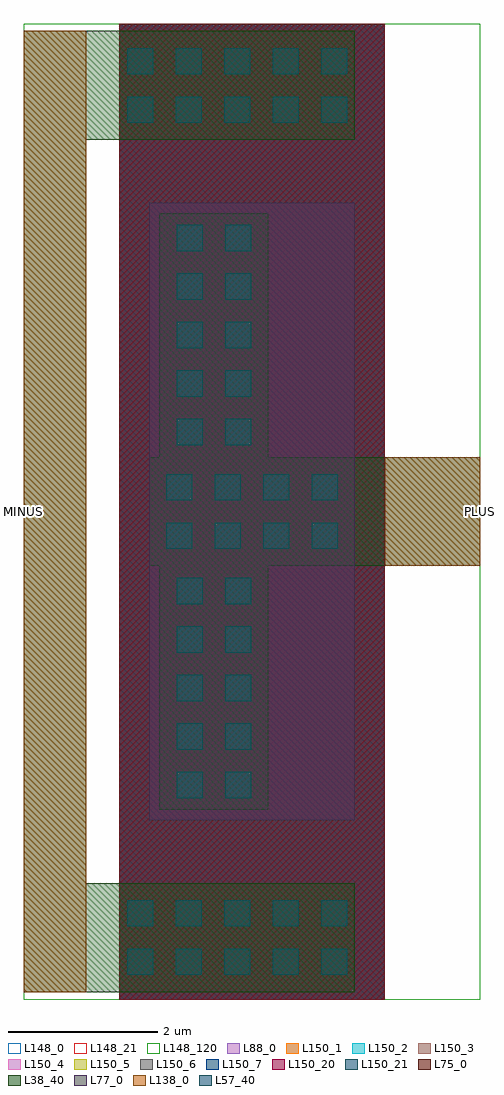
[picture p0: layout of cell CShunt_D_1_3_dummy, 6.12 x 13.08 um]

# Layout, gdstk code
import gdstk
lib = gdstk.Library(unit=1e-6, precision=1e-09)
def R(c, l, rs):  # rectangles x0, y0, x1, y1
    for r in rs: c.add(gdstk.rectangle(r[:2], r[2:], *l))
def A(c, l, x, y, w, h, nx, ny, dx, dy):  # array of equal rectangles
    R(c, l, [(x+i*dx, y+j*dy, x+i*dx+w, y+j*dy+h) for i in range(nx) for j in range(ny)])
L38_40 = (38, 40)
L57_40 = (57, 40)
L75_0 = (75, 0)
L77_0 = (77, 0)
L88_0 = (88, 0)
L138_0 = (138, 0)
L148_0 = (148, 0)
L148_21 = (148, 21)
L148_120 = (148, 120)
L150_1 = (150, 1)
L150_2 = (150, 2)
L150_3 = (150, 3)
L150_4 = (150, 4)
L150_5 = (150, 5)
L150_6 = (150, 6)
L150_7 = (150, 7)
L150_20 = (150, 20)
L150_21 = (150, 21)

cshunt_d_1_3_dummy = lib.new_cell('CShunt_D_1_3_dummy')
R(cshunt_d_1_3_dummy, L38_40, [(-1.68,-2.3,2.76,-0.84), (-1.68,-0.84,-0.84,9.12), (0.14,0.14,1.6,8.14), (0,3.41,4.44,4.87), (-1.68,9.12,2.76,10.58)])
A(cshunt_d_1_3_dummy, L57_40, -0.295, -2.07, 0.35, 0.35, 5, 2, 0.65, 0.65)
A(cshunt_d_1_3_dummy, L57_40, 0.37, 0.3, 0.35, 0.35, 1, 5, 0, 0.65)
A(cshunt_d_1_3_dummy, L57_40, 1.02, 0.3, 0.35, 0.35, 1, 5, 0, 0.65)
A(cshunt_d_1_3_dummy, L57_40, 0.23, 3.64, 0.35, 0.35, 4, 2, 0.65, 0.65)
A(cshunt_d_1_3_dummy, L57_40, 0.37, 5.03, 0.35, 0.35, 1, 5, 0, 0.65)
A(cshunt_d_1_3_dummy, L57_40, 1.02, 5.03, 0.35, 0.35, 1, 5, 0, 0.65)
A(cshunt_d_1_3_dummy, L57_40, -0.295, 9.35, 0.35, 0.35, 5, 2, 0.65, 0.65)
R(cshunt_d_1_3_dummy, L75_0, [(-0.4,-2.4,3.16,10.68)])
R(cshunt_d_1_3_dummy, L77_0, [(0,0,2.76,8.28)])
R(cshunt_d_1_3_dummy, L88_0, [(-0.4,-2.4,3.16,10.68)])
R(cshunt_d_1_3_dummy, L138_0, [(-1.68,-2.3,-0.84,10.58), (3.16,3.41,4.44,4.87)])
R(cshunt_d_1_3_dummy, L148_0, [(-1.68,-2.4,4.44,10.68)])
R(cshunt_d_1_3_dummy, L148_21, [(-1.68,-2.4,4.44,10.68)])
R(cshunt_d_1_3_dummy, L148_120, [(-1.68,-2.4,4.44,10.68)])
R(cshunt_d_1_3_dummy, L150_1, [(-0.4,-2.4,3.16,10.68)])
R(cshunt_d_1_3_dummy, L150_2, [(-0.4,-2.4,3.16,10.68)])
R(cshunt_d_1_3_dummy, L150_3, [(-0.4,-2.4,3.16,10.68)])
R(cshunt_d_1_3_dummy, L150_4, [(-0.4,-2.4,3.16,10.68)])
R(cshunt_d_1_3_dummy, L150_5, [(-0.4,-2.4,3.16,10.68)])
R(cshunt_d_1_3_dummy, L150_6, [(-0.4,-2.4,3.16,10.68)])
R(cshunt_d_1_3_dummy, L150_7, [(-0.4,-2.4,3.16,10.68)])
R(cshunt_d_1_3_dummy, L150_20, [(-0.4,-2.4,3.16,10.68)])
R(cshunt_d_1_3_dummy, L150_21, [(-0.4,-2.4,3.16,10.68)])
cshunt_d_1_3_dummy.add(gdstk.Label('MINUS', (-1.68,4.14), layer=138, texttype=0))
cshunt_d_1_3_dummy.add(gdstk.Label('PLUS', (4.44,4.14), layer=138, texttype=0))

lib.write_gds('CShunt_D_1_3_dummy.gds')
